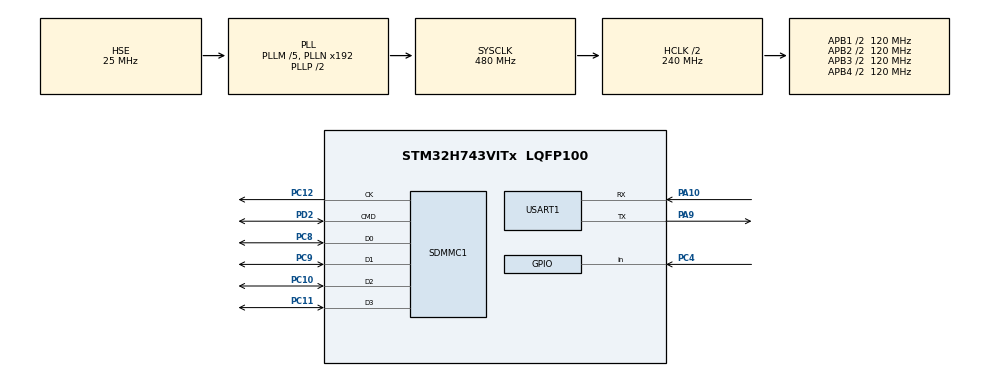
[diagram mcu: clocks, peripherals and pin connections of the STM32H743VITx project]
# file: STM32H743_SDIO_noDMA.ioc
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FATFS.BSP.number=1
FATFS.USE_DMA_CODE_SD=0
FATFS0.BSP.STBoard=false
FATFS0.BSP.api=Unknown
FATFS0.BSP.instance=PC4
FATFS0.BSP.ip=GPIO
FATFS0.BSP.mode=Input
FATFS0.BSP.name=Detect_SDIO
FATFS0.BSP.solution=PC4
Mcu.Family=STM32H7
Mcu.Name=STM32H743VITx
Mcu.Package=LQFP100
NVIC.PriorityGroup=NVIC_PRIORITYGROUP_4
PA10.Mode=Asynchronous
PA10.Signal=USART1_RX
PA9.Mode=Asynchronous
PA9.Signal=USART1_TX
PC10.Mode=SD_4_bits_Wide_bus
PC10.Signal=SDMMC1_D2
PC11.Mode=SD_4_bits_Wide_bus
PC11.Signal=SDMMC1_D3
PC12.Mode=SD_4_bits_Wide_bus
PC12.Signal=SDMMC1_CK
PC4.Signal=GPIO_Input
PC8.Mode=SD_4_bits_Wide_bus
PC8.Signal=SDMMC1_D0
PC9.Mode=SD_4_bits_Wide_bus
PC9.Signal=SDMMC1_D1
PD2.Mode=SD_4_bits_Wide_bus
PD2.Signal=SDMMC1_CMD
PH0-OSC_IN\ (PH0).Mode=HSE-External-Oscillator
PH0-OSC_IN\ (PH0).Signal=RCC_OSC_IN
PH1-OSC_OUT\ (PH1).Mode=HSE-External-Oscillator
PH1-OSC_OUT\ (PH1).Signal=RCC_OSC_OUT
ProjectManager.HeapSize=0x200
ProjectManager.StackSize=0x400
ProjectManager.TargetToolchain=STM32CubeIDE
RCC.ADCFreq_Value=375000000
RCC.APB1Freq_Value=120000000
RCC.APB2Freq_Value=120000000
RCC.APB3Freq_Value=120000000
RCC.APB4Freq_Value=120000000
RCC.CortexFreq_Value=480000000
RCC.D1PPRE=RCC_APB3_DIV2
RCC.D2PPRE1=RCC_APB1_DIV2
RCC.D2PPRE2=RCC_APB2_DIV2
RCC.D3PPRE=RCC_APB4_DIV2
RCC.DIVM1=5
RCC.DIVM2=5
RCC.DIVN1=192
RCC.DIVN2=150
RCC.DIVQ1=4
RCC.DIVQ2=10
RCC.HCLKFreq_Value=240000000
RCC.HPRE=RCC_HCLK_DIV2
RCC.PLL2FRACN=0
RCC.PLL3FRACN=0
RCC.PLLFRACN=0
RCC.PLLSourceVirtual=RCC_PLLSOURCE_HSE
RCC.PWR_Regulator_Voltage_Scale=PWR_REGULATOR_VOLTAGE_SCALE0
RCC.SYSCLKFreq_VALUE=480000000
RCC.SYSCLKSource=RCC_SYSCLKSOURCE_PLLCLK
RCC.USBFreq_Value=240000000
SDMMC1.ClockDiv=8
SDMMC1.ClockPowerSave=SDMMC_CLOCK_POWER_SAVE_ENABLE
USART1.VirtualMode-Asynchronous=VM_ASYNC
VP_FATFS_VS_SDIO.Mode=SDIO
board=custom

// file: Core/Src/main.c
/* USER CODE BEGIN Header */
/**
  ******************************************************************************
  * @file           : main.c
  * @brief          : Main program body
  ******************************************************************************
  * @attention
  *
  * Copyright (c) 2022 STMicroelectronics.
  * All rights reserved.
  *
  * This software is licensed under terms that can be found in the LICENSE file
  * in the root directory of this software component.
  * If no LICENSE file comes with this software, it is provided AS-IS.
  *
  ******************************************************************************
  */
/* USER CODE END Header */
#include "main.h"
#include "fatfs.h"

SD_HandleTypeDef hsd1;

UART_HandleTypeDef huart1;

void SystemClock_Config(void);
static void MX_GPIO_Init(void);
static void MX_USART1_UART_Init(void);
static void MX_SDMMC1_SD_Init(void);
/* USER CODE BEGIN PFP */
void MPU_Config(void);
/* USER CODE END PFP */

/* USER CODE BEGIN 0 */
int __io_putchar(int ch)
{
  HAL_UART_Transmit(&huart1, (uint8_t *)&ch, 1, 0xFFFF);
  return ch;
}

/* USER CODE END 0 */

int main(void)
{

  /* MCU Configuration--------------------------------------------------------*/

  /* Reset of all peripherals, Initializes the Flash interface and the Systick. */
  HAL_Init();

  /* Configure the system clock */
  SystemClock_Config();

  /* USER CODE BEGIN SysInit */
  //MPU_Config();
  /* USER CODE END SysInit */

  /* Initialize all configured peripherals */
  MX_GPIO_Init();
  MX_USART1_UART_Init();
  MX_SDMMC1_SD_Init();
  MX_FATFS_Init();
  /* USER CODE BEGIN 2 */

  printf("SDPath: ");
  printf(SDPath);
  printf("\n");

  FRESULT res;
  FATFS MMCFatFs;
  FIL myFile;
  FATFS fs;
  DSTATUS status;
  BYTE work[1024]; /* Work area (larger is better for processing time) */

  /* Disk initialization */
  printf("Initialize disk: ");
  status = disk_initialize(0);
  if (status != RES_OK)
  {
	printf("Fail\n");
  }
  else
  {
    printf("OK\n");
  }

  /* Mount */
  printf("Mount disk: ");
  res = f_mount(&fs, (TCHAR const*)SDPath, 0);
  if (res != FR_OK)
  {
	printf("Fail\n");
  }
  else
  {
	printf("OK\n");
  }

  /* Get volume information and free clusters of drive 1 */
  printf("Disk space:\n");
  uint32_t freeClust;
  FATFS* fs_ptr = &fs;
  res = f_getfree("", &freeClust, &fs_ptr); // Warning! This fills fs.n_fatent and fs.csize!
  if(res != FR_OK) {
      printf("f_getfree() failed, res = %d\r\n", res);
  }

  //printf("f_getfree() done!\r\n");

  uint32_t totalBlocks = (fs.n_fatent - 2) * fs.csize;
  uint32_t freeBlocks = freeClust * fs.csize;

  printf("Total blocks: %lu (%lu Mb)\r\n", totalBlocks, totalBlocks / 2000);
  printf("Free blocks: %lu (%lu Mb)\r\n", freeBlocks, freeBlocks / 2000);

  /* USER CODE END 2 */

  /* Infinite loop */
  while (1)
  {

  }
}

void SystemClock_Config(void)
{
  RCC_OscInitTypeDef RCC_OscInitStruct = {0};
  RCC_ClkInitTypeDef RCC_ClkInitStruct = {0};

  /** Supply configuration update enable
  */
  HAL_PWREx_ConfigSupply(PWR_LDO_SUPPLY);

  /** Configure the main internal regulator output voltage
  */
  __HAL_PWR_VOLTAGESCALING_CONFIG(PWR_REGULATOR_VOLTAGE_SCALE1);

  while(!__HAL_PWR_GET_FLAG(PWR_FLAG_VOSRDY)) {}

  __HAL_RCC_SYSCFG_CLK_ENABLE();
  __HAL_PWR_VOLTAGESCALING_CONFIG(PWR_REGULATOR_VOLTAGE_SCALE0);

  while(!__HAL_PWR_GET_FLAG(PWR_FLAG_VOSRDY)) {}

  /** Initializes the RCC Oscillators according to the specified parameters
  * in the RCC_OscInitTypeDef structure.
  */
  RCC_OscInitStruct.OscillatorType = RCC_OSCILLATORTYPE_HSE;
  RCC_OscInitStruct.HSEState = RCC_HSE_ON;
  RCC_OscInitStruct.PLL.PLLState = RCC_PLL_ON;
  RCC_OscInitStruct.PLL.PLLSource = RCC_PLLSOURCE_HSE;
  RCC_OscInitStruct.PLL.PLLM = 5;
  RCC_OscInitStruct.PLL.PLLN = 192;
  RCC_OscInitStruct.PLL.PLLP = 2;
  RCC_OscInitStruct.PLL.PLLQ = 4;
  RCC_OscInitStruct.PLL.PLLR = 2;
  RCC_OscInitStruct.PLL.PLLRGE = RCC_PLL1VCIRANGE_2;
  RCC_OscInitStruct.PLL.PLLVCOSEL = RCC_PLL1VCOWIDE;
  RCC_OscInitStruct.PLL.PLLFRACN = 0;
  if (HAL_RCC_OscConfig(&RCC_OscInitStruct) != HAL_OK)
  {
    Error_Handler();
  }

  /** Initializes the CPU, AHB and APB buses clocks
  */
  RCC_ClkInitStruct.ClockType = RCC_CLOCKTYPE_HCLK|RCC_CLOCKTYPE_SYSCLK
                              |RCC_CLOCKTYPE_PCLK1|RCC_CLOCKTYPE_PCLK2
                              |RCC_CLOCKTYPE_D3PCLK1|RCC_CLOCKTYPE_D1PCLK1;
  RCC_ClkInitStruct.SYSCLKSource = RCC_SYSCLKSOURCE_PLLCLK;
  RCC_ClkInitStruct.SYSCLKDivider = RCC_SYSCLK_DIV1;
  RCC_ClkInitStruct.AHBCLKDivider = RCC_HCLK_DIV2;
  RCC_ClkInitStruct.APB3CLKDivider = RCC_APB3_DIV2;
  RCC_ClkInitStruct.APB1CLKDivider = RCC_APB1_DIV2;
  RCC_ClkInitStruct.APB2CLKDivider = RCC_APB2_DIV2;
  RCC_ClkInitStruct.APB4CLKDivider = RCC_APB4_DIV2;

  if (HAL_RCC_ClockConfig(&RCC_ClkInitStruct, FLASH_LATENCY_4) != HAL_OK)
  {
    Error_Handler();
  }
}

static void MX_SDMMC1_SD_Init(void)
{

  hsd1.Instance = SDMMC1;
  hsd1.Init.ClockEdge = SDMMC_CLOCK_EDGE_RISING;
  hsd1.Init.ClockPowerSave = SDMMC_CLOCK_POWER_SAVE_ENABLE;
  hsd1.Init.BusWide = SDMMC_BUS_WIDE_4B;
  hsd1.Init.HardwareFlowControl = SDMMC_HARDWARE_FLOW_CONTROL_DISABLE;
  hsd1.Init.ClockDiv = 8;
  /* USER CODE BEGIN SDMMC1_Init 2 */
  if (HAL_SD_Init(&hsd1) != HAL_OK)
  {
      printf("SD_Init error\n");
  }
  /* USER CODE END SDMMC1_Init 2 */

}

static void MX_USART1_UART_Init(void)
{

  huart1.Instance = USART1;
  huart1.Init.BaudRate = 115200;
  huart1.Init.WordLength = UART_WORDLENGTH_8B;
  huart1.Init.StopBits = UART_STOPBITS_1;
  huart1.Init.Parity = UART_PARITY_NONE;
  huart1.Init.Mode = UART_MODE_TX_RX;
  huart1.Init.HwFlowCtl = UART_HWCONTROL_NONE;
  huart1.Init.OverSampling = UART_OVERSAMPLING_16;
  huart1.Init.OneBitSampling = UART_ONE_BIT_SAMPLE_DISABLE;
  huart1.Init.ClockPrescaler = UART_PRESCALER_DIV1;
  huart1.AdvancedInit.AdvFeatureInit = UART_ADVFEATURE_NO_INIT;
  if (HAL_UART_Init(&huart1) != HAL_OK)
  {
    Error_Handler();
  }
  if (HAL_UARTEx_SetTxFifoThreshold(&huart1, UART_TXFIFO_THRESHOLD_1_8) != HAL_OK)
  {
    Error_Handler();
  }
  if (HAL_UARTEx_SetRxFifoThreshold(&huart1, UART_RXFIFO_THRESHOLD_1_8) != HAL_OK)
  {
    Error_Handler();
  }
  if (HAL_UARTEx_DisableFifoMode(&huart1) != HAL_OK)
  {
    Error_Handler();
  }

}

static void MX_GPIO_Init(void)
{
  GPIO_InitTypeDef GPIO_InitStruct = {0};

  /* GPIO Ports Clock Enable */
  __HAL_RCC_GPIOH_CLK_ENABLE();
  __HAL_RCC_GPIOC_CLK_ENABLE();
  __HAL_RCC_GPIOA_CLK_ENABLE();
  __HAL_RCC_GPIOD_CLK_ENABLE();

  /*Configure GPIO pin : PC4 */
  GPIO_InitStruct.Pin = GPIO_PIN_4;
  GPIO_InitStruct.Mode = GPIO_MODE_INPUT;
  GPIO_InitStruct.Pull = GPIO_NOPULL;
  HAL_GPIO_Init(GPIOC, &GPIO_InitStruct);

}

void Error_Handler(void)
{
  __disable_irq();
  while (1)
  {
  }
}
